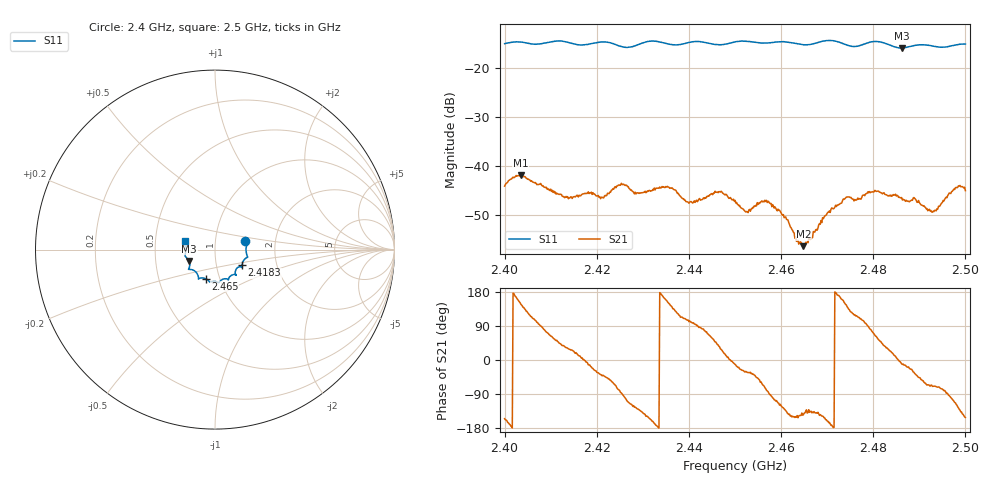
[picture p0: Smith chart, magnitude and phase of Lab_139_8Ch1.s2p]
# Hz S RI R 50
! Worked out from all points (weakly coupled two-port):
!   601 points, 2.4 GHz to 2.5 GHz, reference 50 ohm
!   highest |S21| = -41.96 dB at 2.4035 GHz (marker M1); lowest = -56.4 dB at 2.4648 GHz (marker M2)
!   lowest |S11| = -16.0 dB at 2.4862 GHz (marker M3), VSWR 1.38, Z = 37.1 - j4.84 ohm
!   |S11| at or under -10 dB: start of sweep to end of sweep
!   S12 and S22 are empty: the file has one direction only
!   S11 on the Smith chart (normalised r, x): 2.4 GHz: 1.40, +0.13; 2.4183 GHz: 1.33, -0.24; 2.465 GHz: 0.86, -0.29; 2.5 GHz: 0.71, +0.07
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2.4e9  0.169 0.0457  -0.0056 -0.00262  0 0  0 0
2.4035e9  0.1795 0.03  -0.00674 0.00427  0 0  0 0
2.413e9  0.1787 -0.0442  0.00382 0.00277  0 0  0 0
2.416667e9  0.1549 -0.0686  0.00502 0.000455  0 0  0 0
2.418333e9  0.1499 -0.087  0.00506 -0.00116  0 0  0 0
2.421167e9  0.1522 -0.1003  0.00355 -0.00317  0 0  0 0
2.425333e9  0.131 -0.0972  0.00037 -0.00659  0 0  0 0
2.433333e9  0.1169 -0.1415  -0.00589 -0.000297  0 0  0 0
2.439833e9  0.0761 -0.1623  -0.00112 0.00409  0 0  0 0
2.446167e9  0.0516 -0.1631  0.00406 0.00352  0 0  0 0
2.45e9  0.0253 -0.1806  0.00434 -0.000874  0 0  0 0
2.4525e9  0.0201 -0.1843  0.00291 -0.00177  0 0  0 0
2.457333e9  -0.0126 -0.1777  0.000202 -0.00427  0 0  0 0
2.464833e9  -0.0509 -0.163  -0.00123 -0.000871  0 0  0 0
2.465e9  -0.0526 -0.1622  -0.00121 -0.00101  0 0  0 0
2.466667e9  -0.0713 -0.1578  -0.0014 -0.00121  0 0  0 0
2.474e9  -0.0957 -0.1421  -0.00392 0.00257  0 0  0 0
2.483333e9  -0.142 -0.0959  0.00433 0.0023  0 0  0 0
2.486167e9  -0.1446 -0.0636  0.00465 -0.000843  0 0  0 0
2.493167e9  -0.1636 -0.0178  0.00121 -0.00318  0 0  0 0
2.498e9  -0.1667 0.036  -0.00274 -0.00534  0 0  0 0
2.5e9  -0.1668 0.0473  -0.0049 -0.00263  0 0  0 0
